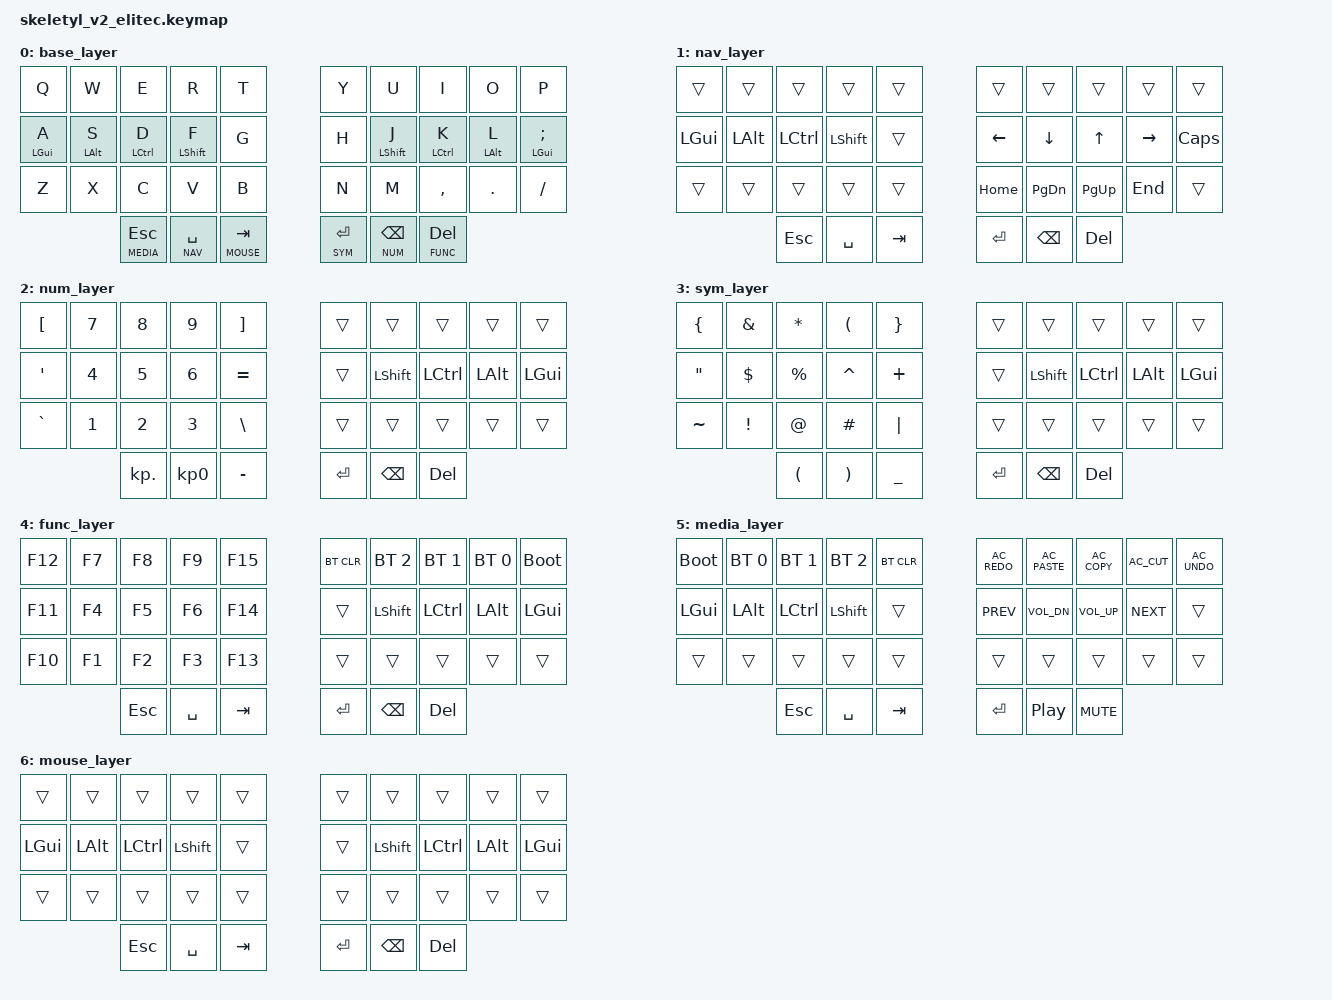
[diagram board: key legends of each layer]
/*
 * Copyright (c) 2024 ZMK Contributors
 *
 * SPDX-License-Identifier: MIT
 */


#include <behaviors.dtsi>
#include <dt-bindings/zmk/keys.h>
#include <dt-bindings/zmk/bt.h>

#define BASE 0
#define NAV 1
#define NUM 2
#define SYM 3
#define FUNC 4
#define MEDIA 5
#define MOUSE 6

/* custom behaviors */

/* ZMK_BEHAVIOR */

#define ZMK_BEHAVIOR_CORE_caps_word       compatible = "zmk,behavior-caps-word";       #binding-cells = <0>
#define ZMK_BEHAVIOR_CORE_dynamic_macro   compatible = "zmk,behavior-dynamic-macro";   #binding-cells = <1>
#define ZMK_BEHAVIOR_CORE_hold_tap        compatible = "zmk,behavior-hold-tap";        #binding-cells = <2>
#define ZMK_BEHAVIOR_CORE_key_repeat      compatible = "zmk,behavior-key-repeat";      #binding-cells = <0>
#define ZMK_BEHAVIOR_CORE_macro           compatible = "zmk,behavior-macro";           #binding-cells = <0>
#define ZMK_BEHAVIOR_CORE_macro_one_param compatible = "zmk,behavior-macro-one-param"; #binding-cells = <1>
#define ZMK_BEHAVIOR_CORE_macro_two_param compatible = "zmk,behavior-macro-two-param"; #binding-cells = <2>
#define ZMK_BEHAVIOR_CORE_mod_morph       compatible = "zmk,behavior-mod-morph";       #binding-cells = <0>
#define ZMK_BEHAVIOR_CORE_sticky_key      compatible = "zmk,behavior-sticky-key";      #binding-cells = <1>
#define ZMK_BEHAVIOR_CORE_tap_dance       compatible = "zmk,behavior-tap-dance";       #binding-cells = <0>
#define ZMK_BEHAVIOR_CORE_tri_state       compatible = "zmk,behavior-tri-state";       #binding-cells = <0>

#define ZMK_BEHAVIOR(name, type, ...) \
    / { \
        behaviors { \
            name: name { \
                ZMK_BEHAVIOR_CORE_ ## type; \
                __VA_ARGS__ \
            }; \
        }; \
    };

// homerow mods
ZMK_BEHAVIOR(hrm, hold_tap,
    flavor = "balanced";
    tapping-term-ms = <280>;
    quick-tap-ms = <125>;
    bindings = <&kp>, <&kp>;
)

/ {
	keymap {
		compatible = "zmk,keymap";

		base_layer {
			bindings = <
&kp Q			&kp W			&kp E			&kp R			&kp T				&kp Y			&kp U			&kp I			&kp O			&kp P 
&hrm LGUI A		&hrm LALT S		&hrm LCTRL D	&hrm LSHIFT F	&kp G				&kp H			&hrm LSHIFT J	&hrm LCTRL K	&hrm LALT L		&hrm LGUI SEMI          
&kp Z			&kp X			&kp C			&kp V			&kp B				&kp N			&kp M			&kp COMMA		&kp DOT			&kp SLASH      
								&lt MEDIA ESC	&lt NAV SPACE	&lt MOUSE TAB		&lt SYM RET		&lt NUM BSPC	&lt FUNC DEL

			>;
		};

		nav_layer {
			bindings = <
&trans			&trans			&trans			&trans			&trans				&trans			&trans			&trans			&trans			&trans
&kp LGUI		&kp LALT		&kp LCTRL		&kp LSHIFT		&trans				&kp LEFT		&kp DOWN		&kp UP			&kp RIGHT		&kp CAPS
&trans		 	&trans			&trans			&trans			&trans				&kp HOME		&kp PG_DN		&kp PG_UP		&kp END			&trans        
								&kp ESC			&kp SPACE		&kp TAB				&kp RET			&kp BSPC		&kp DEL
			>;
		};

		num_layer {
			bindings = <
&kp LBKT		&kp N7			&kp N8			&kp N9			&kp RBKT			&trans			&trans			&trans			&trans			&trans
&kp SQT 		&kp N4			&kp N5			&kp N6			&kp EQUAL			&trans			&kp LSHIFT 		&kp LCTRL		&kp LALT 		&kp LGUI
&kp GRAVE   	&kp N1			&kp N2			&kp N3			&kp BACKSLASH		&trans			&trans			&trans			&trans			&trans        
								&kp KP_DOT		&kp KP_N0		&kp MINUS			&kp RET			&kp BSPC		&kp DEL
			>;
		};

		sym_layer {
			bindings = <
&kp LBRC	 	&kp AMPERSAND	&kp ASTERISK	&kp LPAR		&kp RBRC			&trans			&trans			&trans			&trans			&trans
&kp DQT		  	&kp DOLLAR		&kp PERCENT		&kp CARET		&kp PLUS			&trans			&kp LSHIFT 		&kp LCTRL		&kp LALT 		&kp LGUI  
&kp TILDE   	&kp EXCL		&kp AT			&kp HASH		&kp PIPE			&trans			&trans			&trans			&trans			&trans        
								&kp LPAR		&kp RPAR		&kp UNDER			&kp RET			&kp BSPC		&kp DEL
			>;
		};

		func_layer {
			bindings = <
&kp F12		 	&kp F7			&kp F8			&kp F9			&kp F15				&bt BT_CLR		&bt BT_SEL 2	&bt BT_SEL 1	&bt BT_SEL 0	&bootloader	 
&kp F11		 	&kp F4			&kp F5			&kp F6			&kp F14				&trans			&kp LSHIFT 		&kp LCTRL		&kp LALT 		&kp LGUI  
&kp F10		 	&kp F1			&kp F2			&kp F3			&kp F13				&trans			&trans			&trans			&trans			&trans        
								&kp ESC			&kp SPACE		&kp TAB				&kp RET			&kp BSPC		&kp DEL
			>;
		};

		media_layer {
			bindings = <
&bootloader	 	&bt BT_SEL 0	&bt BT_SEL 1	&bt BT_SEL 2	&bt BT_CLR			&kp C_AC_REDO	&kp C_AC_PASTE	&kp C_AC_COPY	&kp C_AC_CUT	&kp C_AC_UNDO
&kp LGUI		&kp LALT		&kp LCTRL		&kp LSHIFT		&trans				&kp C_PREV		&kp C_VOL_DN	&kp C_VOL_UP	&kp C_NEXT		&trans  
&trans		   	&trans			&trans			&trans			&trans				&trans			&trans			&trans			&trans			&trans       
								&kp ESC			&kp SPACE		&kp TAB				&kp RET			&kp C_PP		&kp C_MUTE
			>;
		};

		mouse_layer {
			bindings = <
&trans		 	&trans			&trans			&trans			&trans				&trans			&trans			&trans			&trans			&trans
&kp LGUI		&kp LALT		&kp LCTRL		&kp LSHIFT		&trans				&trans			&kp LSHIFT 		&kp LCTRL		&kp LALT 		&kp LGUI
&trans   		&trans			&trans			&trans			&trans				&trans			&trans			&trans			&trans			&trans        
								&kp ESC			&kp SPACE		&kp TAB				&kp RET			&kp BSPC		&kp DEL
			>;
		};
	};
};
